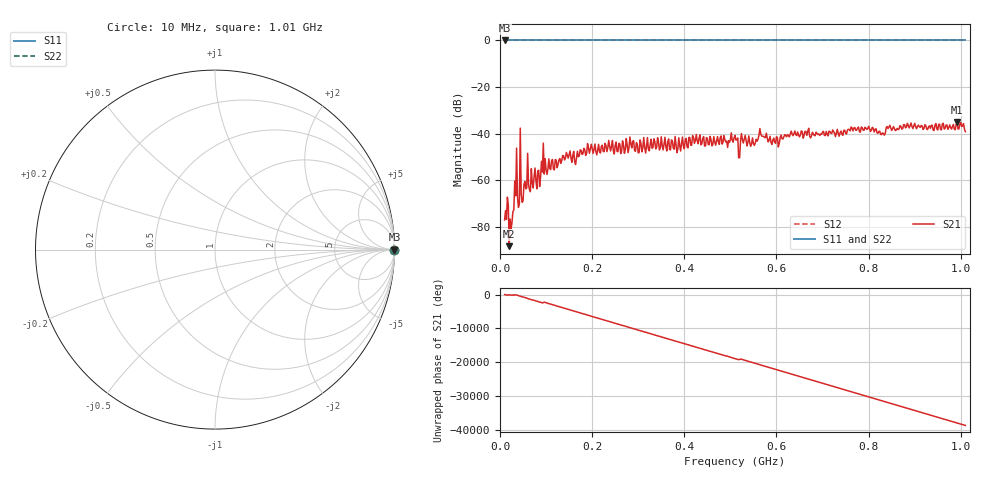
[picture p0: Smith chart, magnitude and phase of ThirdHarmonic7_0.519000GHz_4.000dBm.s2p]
! 8/17/2025 3:14:45 PM
! C:\ANRITSUVNA\TEMP\TEMP.S2P
! CHANNEL.1
! TR.MEASUREMENT
! RAW.DATA
! RF.CORRECTION.OFF
! AVERAGING.OFF
! IF.BANDWIDTH: 5KHZ
! SWEEPTYPE:  FREQ.SWEEP(Linear)
! Reference Plane Port Info
! PORT:  PORT1  PORT2
! DISTANCE:  0  m  0  m
! TIME:  0  s  0  s
! PHASE.OFFSET:  0  deg.  0  deg.
! LOSS:  0  dB  0  dB
! REF.LOSS:  0  dB  0  dB
! REF.FREQ:  0  Hz  0  Hz
! Power Info
! POWER:  -20  dBm  -20  dBm
! EFF.POWER:  -20  dBm  -20  dBm
! SOURCE.ATTEN:  0  dB  0  dB
! TEST.ATTEN:  0  dB  0  dB
# GHZ S RI R 50.0
! FREQ.GHZ  S11RE  S11IM  S21RE  S21IM  S12RE  S12IM  S22RE  S22IM
!; PortSelection: Port_12
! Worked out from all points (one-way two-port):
!   501 points, 10 MHz to 1.01 GHz, reference 50 ohm
!   highest |S21| = -35.00 dB at 992 MHz (marker M1); lowest = -88.4 dB at 20 MHz (marker M2)
!   lowest |S11| = 0.0 dB at 10 MHz (marker M3)
!   |S11| at or under -10 dB: nowhere
!   |S22| runs from 0.0 to 0.0 dB; largest |S21 - S12| = 1
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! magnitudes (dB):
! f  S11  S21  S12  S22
! 10 MHz  0.0  -77.1  0.0  0.0
! 20 MHz  0.0  -88.4  0.0  0.0
! 26 MHz  0.0  -78.3  0.0  0.0
! 32 MHz  0.0  -60.4  0.0  0.0
! 38 MHz  0.0  -67.3  0.0  0.0
! 40 MHz  0.0  -71.7  0.0  0.0
! 42 MHz  0.0  -70.3  0.0  0.0
! 48 MHz  0.0  -69.5  0.0  0.0
! 50 MHz  0.0  -68.9  0.0  0.0
! 56 MHz  0.0  -63.7  0.0  0.0
! 84 MHz  0.0  -55.8  0.0  0.0
! 94 MHz  0.0  -44.1  0.0  0.0
! 100 MHz  0.0  -55.5  0.0  0.0
! 178 MHz  0.0  -49.0  0.0  0.0
! 344 MHz  0.0  -43.8  0.0  0.0
! 510 MHz  0.0  -40.8  0.0  0.0
! 518 MHz  0.0  -50.5  0.0  0.0
! 566 MHz  0.0  -40.2  0.0  0.0
! 678 MHz  0.0  -39.5  0.0  0.0
! 844 MHz  0.0  -37.2  0.0  0.0
! 992 MHz  0.0  -35.0  0.0  0.0
! 1.01 GHz  0.0  -39.2  0.0  0.0
